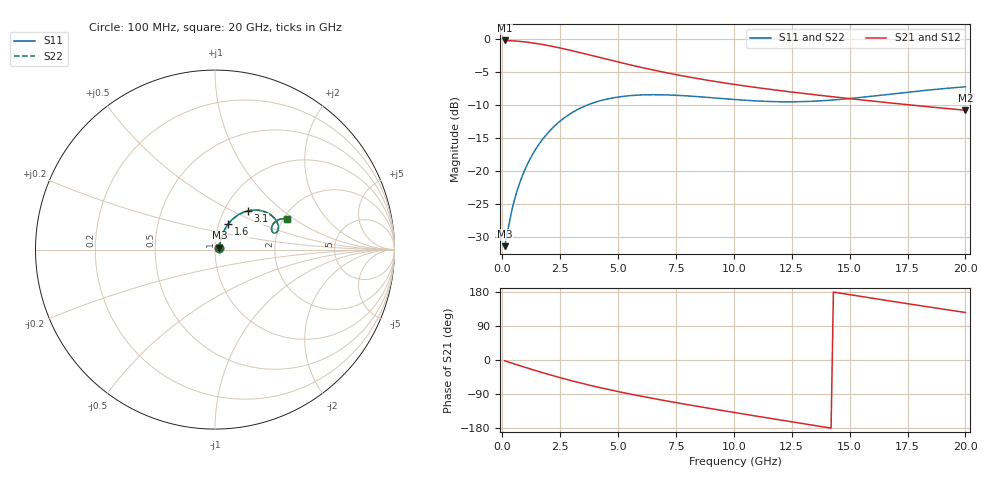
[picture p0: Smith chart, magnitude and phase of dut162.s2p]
! Touchstone file exported from HFSS 2024.1.0
!  File:  C:/UserFiles/LocalFiles/RDL_TSV_Batchsim/temp_RDL_TSV_162_1779434642.aedt
!  Generated:  03:39:11 PM May 22, 2026
!  Design:  RDL_TSV
!  Project:  temp_RDL_TSV_162_1779434642
!  Setup:  Setup1
!  Solution:  Sweep
! Variables:
!  dtsv = 7.31um
!  hbump = 3um
!  htsv = 74.39um
!  ldown = 358.76um
!  lrdl = 592.56um
!  p = 40
!  p1 = 55.94um
!  rhole = 10um
!  subl = 3446.52um
!  t = 450um
!  tdown = 2.53um
!  trdl = 4.09um
!  viad = 10um
!  wdown = 13.91um
!  wrdl = 15.38um
!  xbump = 18um
# GHz S MA R 50.000000
! Terminal data exported
! Port[1] = TM1_1_T1
! Port[2] = TM1_4_T1
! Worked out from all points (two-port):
!   200 points, 100 MHz to 20 GHz, reference 50 ohm
!   highest |S21| = -0.22 dB at 100 MHz (marker M1); lowest = -10.8 dB at 20 GHz (marker M2)
!   |S21| within 3 dB of the highest: start of sweep to 4.691 GHz
!   lowest |S11| = -31.4 dB at 100 MHz (marker M3), VSWR 1.06, Z = 52.5 + j1.08 ohm
!   |S11| at or under -10 dB: start of sweep to 3.686 GHz
!   |S22| runs from -31.4 to -7.2 dB; largest |S21 - S12| = 5.1e-14
!   S11 on the Smith chart (normalised r, x): 100 MHz: 1.05, +0.02; 1.6 GHz: 1.11, +0.33; 3.1 GHz: 1.29, +0.60; 20 GHz: 2.08, +0.87
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0.1  0.02684 22.6  0.9752 -2.0  0.9752 -2.0  0.02684 22.6
! Gamma 0 0 0 0
! Port Impedance 50 0 50 0
0.4  0.04917 53.8  0.9701 -8.0  0.9701 -8.0  0.04917 53.8
0.5  0.05802 57.6  0.9676 -10.0  0.9676 -10.0  0.05801 57.6
0.7  0.07625 61.8  0.9614 -13.9  0.9614 -13.9  0.07625 61.8
0.9  0.09489 63.7  0.9539 -17.8  0.9539 -17.8  0.09489 63.7
1.1  0.1137 64.2  0.945 -21.6  0.945 -21.6  0.1137 64.2
1.6  0.1607 62.7  0.9175 -30.9  0.9175 -30.9  0.1607 62.7
2.3  0.2226 57.3  0.8698 -43.3  0.8698 -43.3  0.2226 57.3
3.1  0.2823 49.7  0.8087 -56.4  0.8087 -56.4  0.2822 49.7
3.5  0.3064 45.9  0.7777 -62.5  0.7777 -62.5  0.3064 45.8
4.2  0.3391 39.4  0.7251 -72.6  0.7251 -72.6  0.339 39.4
5.1  0.365 32.2  0.6632 -84.6  0.6632 -84.6  0.3649 32.2
5.9  0.3757 26.9  0.615 -94.4  0.615 -94.4  0.3755 26.8
6.8  0.3778 22.1  0.5683 -104.8  0.5683 -104.8  0.3775 22.1
8.4  0.3661 16.9  0.5025 -122.0  0.5025 -122.0  0.3657 16.9
10.1  0.347 15.4  0.4503 -139.3  0.4503 -139.3  0.3465 15.4
11.7  0.3351 17.2  0.4124 -155.3  0.4124 -155.3  0.3347 17.2
13.4  0.3372 20.7  0.3795 -172.0  0.3795 -172.0  0.3369 20.8
15  0.3536 23.7  0.353 172.5  0.353 172.5  0.3534 23.8
16.7  0.3807 25.1  0.3282 156.1  0.3282 156.1  0.3807 25.2
18.3  0.4083 24.7  0.3075 141.1  0.3075 141.1  0.4085 24.8
20  0.434 23.0  0.2882 125.4  0.2882 125.4  0.4343 23.1
